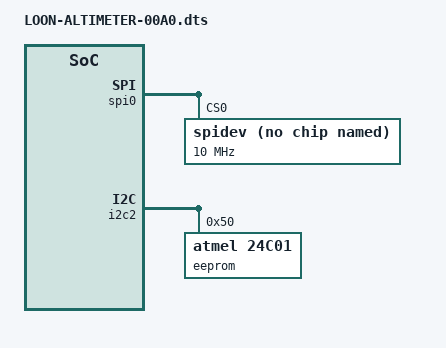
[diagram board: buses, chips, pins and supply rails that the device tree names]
/dts-v1/;
/plugin/;
/ {
	compatible = "ti,beaglebone", "ti,beaglebone-black";
	
	part-number = "LOON-ALTIMETER";
	version = "00A0";
	
	exclusive-use =
		/* Pin Headers */
		"P9.17",	/* spi0.cs */
		"P9.18",	/* spi0.miso */
		"P9.21",	/* spi0.mosi */
		"P9.22",	/* spi0.sclk */
		"P9.19",	/* i2c2.scl -- shared? */
		"P9.20",	/* i2c2.sda -- shared? */
		"P9.11",	/* sel0 */
		"P9.13",	/* sel1 */
		"P9.15",	/* sel2 */
		"P9.12",	/* wp */
		"P9.14",	/* drdyb */
		"P9.16",	/* temp_ok */
		/* MCU Peripherals */
		"spi0",
		"i2c2";

	fragment@0 {
		target = <&am33xx_pinmux>;
		__overlay__ {
			bb_spi0_pins: bb_spi0_pins {
				pinctrl-single,pins = <
					0x150 0x30	/* conf_spi0_sclk(0)  -- spi0_sclk */
					0x154 0x00	/* conf_spi0_d0(0)    -- spi0_mosi */
					0x158 0x20	/* conf_spi0_d1(0)    -- spi0_miso */
					0x15C 0x10	/* conf_spi0_cs0(0)   -- spi0_cs0 */
				>;
			};
			bb_i2c2_pins: bb_i2c2_pins {
				pinctrl-single,pins = <
					0x17C 0x03	/* conf_uart1_rtsn(3) -- i2c2_scl */
					0x178 0x03	/* conf_uart1_ctsn(3) -- i2c2_sda */
				>;
			};
			altimeter_pins: altimeter_pins {
				pinctrl-single,pins = <
					0x078 0x0f	/* conf_gpmc_ben1(7)  -- gpio1_28(60) -- wp */
					0x048 0x27	/* conf_gpmc_a2(7)    -- gpio1_18(50) -- drdy */
					0x04C 0x27	/* conf_gpmc_a3(7)    -- gpio1_19(51) -- temp */
					0x070 0x0f	/* conf_gpmc_wait0(7) -- gpio0_30(30) -- sel0 */
					0x074 0x0f	/* conf_gpmc_wpn(7)   -- gpio0_31(31) -- sel1 */
					0x040 0x0f	/* conf_gpmc_a0(7)    -- gpio1_16(48) -- sel2 */
				>;
			};
		};
	};
	
	fragment@1 {
		target = <&spi0>;
		__overlay__ {
			#address-cells = <1>;
			#size-cells = <0>;

			status = "okay";
			pinctrl-names = "default";
			pinctrl-0 = <&bb_spi0_pins>;
			ti,pindir-d0-out-d1-in = <1>;
			
			spidev@0 {
				compatible = "linux,spidev";
				spi-max-frequency = <10000000>;
				reg = <0>;
			};
		};
	};
	
	fragment@2 {
		target = <&i2c2>;
		__overlay__ {
			#address-cells = <1>;
			#size-cells = <0>;

			status = "okay";
			pinctrl-names = "default";
			pinctrl-0 = <&bb_i2c2_pins>;

			eeprom@50 {
				compatible = "atmel,24c01";
				reg = <0x50>;
				pagesize = <8>;
			};
		};
	};
	
	fragment@3 {
		target = <&ocp>;
		__overlay__ {
			altimeter {
				compatible = "gpio-of-helper";
				status = "okay";
				pinctrl-names = "default";
				pinctrl-0 = <&altimeter_pins>;
				
				i2c2_wp {
					gpio-name = "altimeter:wp";
					gpio = <&gpio2 28 0>;
					output;
					init-high;
				};
				
				temp_ok {
					gpio-name = "altimeter:temp_ok";
					gpio = <&gpio2 19 0>;
					input;
				};
				
				drdyb {
					gpio-name = "altimeter:drdyb";
					gpio = <&gpio2 18 0>;
					input;
				};
				
				sel0 {
					gpio-name = "altimeter:sel0";
					gpio = <&gpio1 30 0>;
					output;
					init-low;
				};
				
				sel1 {
					gpio-name = "altimeter:sel1";
					gpio = <&gpio1 31 0>;
					output;
					init-low;
				};
				
				sel2 {
					gpio-name = "altimeter:sel2";
					gpio = <&gpio2 16 0>;
					output;
					init-low;
				};
			};
		};
	};
};
